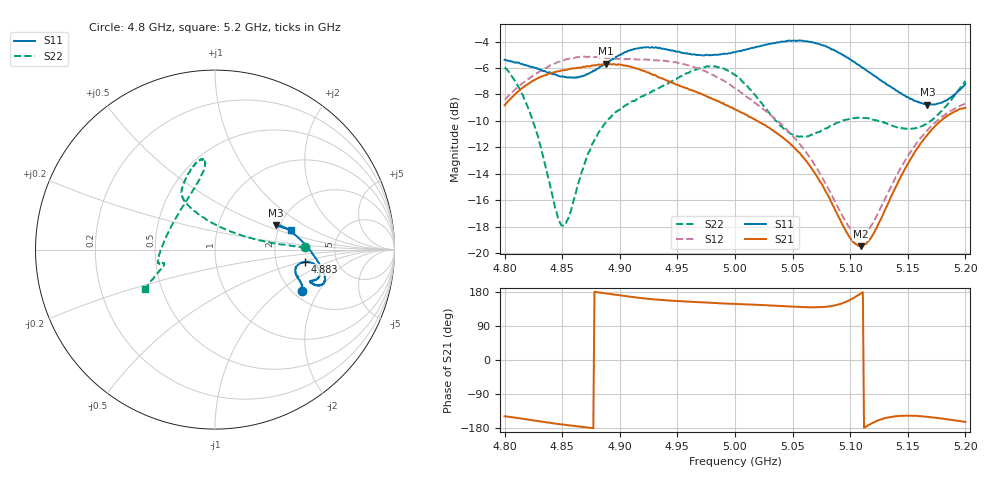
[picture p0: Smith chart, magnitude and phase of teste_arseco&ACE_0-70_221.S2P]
! Network Analyzer HP8722D
! Hewlett-Packard
! Data name: Linha & Wilkinson
! Saver's name: Rodrigo Anjos
! Comments: Teste da utilização de aquisição
! continua pelo VNA HP8722D
! Time and date: 8/5/2025 14:36
!  Frequency  S11  S21  S12  S22
# HZ  S  MA R 50
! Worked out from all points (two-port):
!   401 points, 4.8 GHz to 5.2 GHz, reference 50 ohm
!   highest |S21| = -5.69 dB at 4.888 GHz (marker M1); lowest = -19.5 dB at 5.109 GHz (marker M2)
!   |S21| within 3 dB of the highest: 4.801 GHz to 4.99 GHz (188.9 MHz wide, 3.86 % of centre)
!   lowest |S11| = -8.8 dB at 5.167 GHz (marker M3), VSWR 2.15, Z = 94.7 + j30 ohm
!   |S11| at or under -10 dB: nowhere
!   |S22| runs from -17.9 to -5.9 dB; largest |S21 - S12| = 1.1
!   S11 on the Smith chart (normalised r, x): 4.8 GHz: 2.24, -1.46; 4.883 GHz: 2.94, -0.54; 5.2 GHz: 2.33, +0.64
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4.8e9  0.5384 -25.3  0.3624 -148.5  0.3803 10.7  0.504 1.5
4.812e9  0.5262 -22.2  0.4094 -153.4  0.4276 9.0  0.425 2.7
4.823e9  0.5065 -20.4  0.444 -158.4  0.4631 7.4  0.3303 6.1
4.849e9  0.4647 -16.2  0.4901 -169.8  0.5325 3.3  0.1278 58.0
4.855e9  0.461 -14.4  0.4946 -172.1  0.5423 2.4  0.1344 84.7
4.867e9  0.4666 -11.0  0.5046 -176.3  0.551 0.8  0.2038 112.3
4.883e9  0.5063 -7.7  0.5146 177.8  0.5481 -0.8  0.292 121.3
4.888e9  0.5218 -7.6  0.5197 175.8  0.5459 -0.7  0.3118 122.0
4.912e9  0.5907 -10.7  0.5026 165.9  0.5379 -0.2  0.3754 119.7
4.934e9  0.5978 -15.5  0.4611 158.7  0.5363 -1.2  0.4208 113.3
4.974e9  0.5598 -18.4  0.3946 151.8  0.4873 -4.9  0.5037 99.7
5e9  0.5743 -19.2  0.35 147.9  0.4202 -5.1  0.4725 96.9
5.018e9  0.6009 -19.1  0.3183 145.8  0.3678 -2.3  0.3938 103.6
5.044e9  0.6325 -17.4  0.2678 141.7  0.2957 3.2  0.2918 131.2
5.067e9  0.6274 -13.3  0.2078 139.1  0.2235 9.5  0.2802 164.4
5.098e9  0.5481 -2.8  0.1178 156.0  0.1274 36.7  0.3205 -170.5
5.109e9  0.5079 2.4  0.1063 175.1  0.1172 58.4  0.3253 -167.1
5.119e9  0.4753 7.3  0.116 -166.6  0.1283 77.8  0.321 -165.8
5.134e9  0.4279 14.6  0.1582 -150.9  0.1734 94.8  0.3061 -165.5
5.167e9  0.3644 22.1  0.2794 -150.0  0.2917 102.8  0.3099 -161.5
5.183e9  0.3777 20.1  0.327 -155.8  0.3359 102.7  0.3587 -156.8
5.2e9  0.4359 14.8  0.3548 -163.4  0.3685 103.2  0.4475 -150.5
